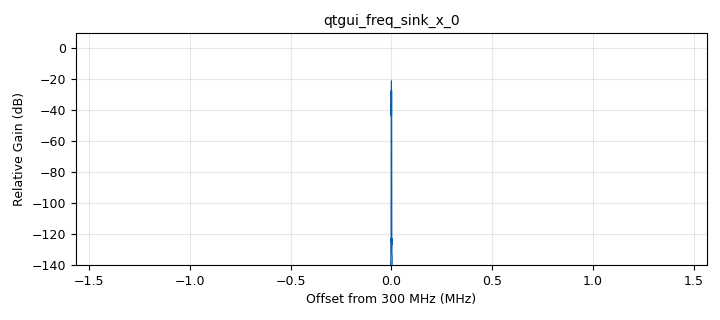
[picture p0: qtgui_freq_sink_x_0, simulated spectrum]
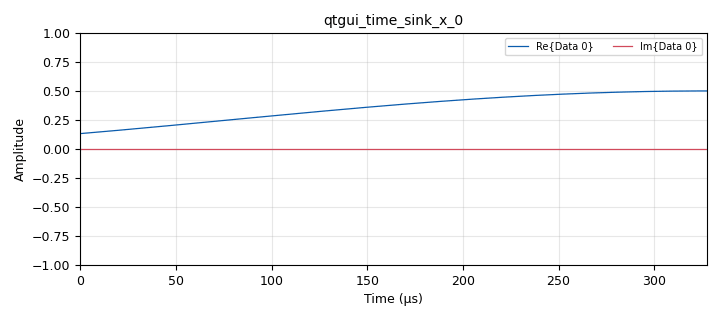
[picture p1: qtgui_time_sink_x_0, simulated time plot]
options:
  parameters:
    author: estudiante
    generate_options: qt_gui
    id: untitled
    output_language: python
    title: Not titled yet
  states: {}

blocks:
- name: Ac
  id: variable_qtgui_range
  parameters:
    label: ac
    start: '0'
    step: '0.01'
    stop: '0.5'
    value: '0.25'
  states: {}
- name: Am
  id: variable_qtgui_range
  parameters:
    label: Am
    start: '0'
    step: '0.01'
    stop: '1'
    value: '1'
  states: {}
- name: GTX
  id: variable_qtgui_range
  parameters:
    label: GANANCIA TX
    start: '0'
    step: '1'
    stop: '30'
    value: '30'
    widget: counter
  states: {}
- name: Ka
  id: variable_qtgui_range
  parameters:
    label: ka
    start: '0'
    step: '0.01'
    stop: '3'
    value: '1'
  states: {}
- name: fc
  id: variable_qtgui_range
  parameters:
    start: '50'
    step: '1'
    stop: '2200'
    value: '300'
  states: {}
- name: fm
  id: variable_qtgui_range
  parameters:
    label: fm
    start: '100'
    step: '0.01'
    stop: '20000'
    value: '1000'
  states: {}
- name: samp_rate
  id: variable
  parameters:
    value: 25e6/8
  states: {}
- name: analog_sig_source_x_0
  id: analog_sig_source_x
  parameters:
    amp: Am
    freq: fm
    offset: '0'
    phase: '0'
    samp_rate: samp_rate
    type: float
    waveform: analog.GR_COS_WAVE
  states: {}
- name: blocks_add_const_vxx_0
  id: blocks_add_const_vxx
  parameters:
    const: '1'
    type: float
  states: {}
- name: blocks_float_to_complex_0
  id: blocks_float_to_complex
  parameters: {}
  states: {}
- name: blocks_multiply_const_vxx_0
  id: blocks_multiply_const_vxx
  parameters:
    const: Ka
    type: float
  states: {}
- name: blocks_multiply_const_vxx_1
  id: blocks_multiply_const_vxx
  parameters:
    const: Ac
    type: complex
  states: {}
- name: qtgui_freq_sink_x_0
  id: qtgui_freq_sink_x
  parameters:
    bw: samp_rate
    fc: fc*1E6
    fftsize: '16384'
    type: complex
  states: {}
- name: qtgui_time_sink_x_0
  id: qtgui_time_sink_x
  parameters:
    size: '1024'
    srate: samp_rate
    type: complex
  states: {}
- name: qtgui_waterfall_sink_x_0
  id: qtgui_waterfall_sink_x
  parameters:
    bw: samp_rate
    fc: fc*1e6
    fftsize: '16384'
    type: complex
  states: {state: disabled}
- name: uhd_usrp_sink_0
  id: uhd_usrp_sink
  parameters:
    ant0: '"TX/RX"'
    center_freq0: fc*1e6
    gain0: GTX
    samp_rate: samp_rate
    sync: pc_clock
    type: fc32
  states: {}

connections:
- [analog_sig_source_x_0, '0', blocks_multiply_const_vxx_0, '0']
- [blocks_add_const_vxx_0, '0', blocks_float_to_complex_0, '0']
- [blocks_float_to_complex_0, '0', blocks_multiply_const_vxx_1, '0']
- [blocks_multiply_const_vxx_0, '0', blocks_add_const_vxx_0, '0']
- [blocks_multiply_const_vxx_1, '0', qtgui_freq_sink_x_0, '0']
- [blocks_multiply_const_vxx_1, '0', qtgui_time_sink_x_0, '0']
- [blocks_multiply_const_vxx_1, '0', uhd_usrp_sink_0, '0']

metadata:
  file_format: 1
  grc_version: v3.10.11.0-89-ga17f69e7
